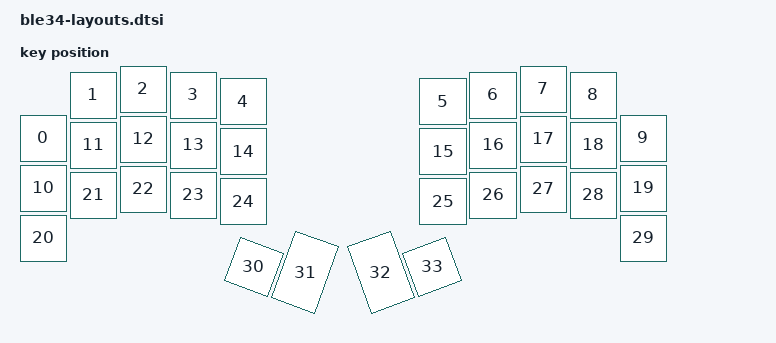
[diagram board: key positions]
#include <physical_layouts.dtsi>

/ {
    physical_layout0: physical_layout_0 {
        compatible = "zmk,physical-layout";
        display-name = "five_column_transform";

        kscan = <&kscan0>;
        transform = <&matrix_transform0>;

        keys  //                     w   h    x    y     rot    rx    ry
            = <&key_physical_attrs 100 100    0   98       0     0     0>
            , <&key_physical_attrs 100 100  100   12       0     0     0>
            , <&key_physical_attrs 100 100  200    0       0     0     0>
            , <&key_physical_attrs 100 100  300   12       0     0     0>
            , <&key_physical_attrs 100 100  400   25       0     0     0>
            , <&key_physical_attrs 100 100  800   25       0     0     0>
            , <&key_physical_attrs 100 100  900   12       0     0     0>
            , <&key_physical_attrs 100 100 1000    0       0     0     0>
            , <&key_physical_attrs 100 100 1100   12       0     0     0>
            , <&key_physical_attrs 100 100 1200   98       0     0     0>
            , <&key_physical_attrs 100 100    0  198       0     0     0>
            , <&key_physical_attrs 100 100  100  112       0     0     0>
            , <&key_physical_attrs 100 100  200  100       0     0     0>
            , <&key_physical_attrs 100 100  300  112       0     0     0>
            , <&key_physical_attrs 100 100  400  125       0     0     0>
            , <&key_physical_attrs 100 100  800  125       0     0     0>
            , <&key_physical_attrs 100 100  900  112       0     0     0>
            , <&key_physical_attrs 100 100 1000  100       0     0     0>
            , <&key_physical_attrs 100 100 1100  112       0     0     0>
            , <&key_physical_attrs 100 100 1200  198       0     0     0>
            , <&key_physical_attrs 100 100    0  298       0     0     0>
            , <&key_physical_attrs 100 100  100  212       0     0     0>
            , <&key_physical_attrs 100 100  200  200       0     0     0>
            , <&key_physical_attrs 100 100  300  212       0     0     0>
            , <&key_physical_attrs 100 100  400  225       0     0     0>
            , <&key_physical_attrs 100 100  800  225       0     0     0>
            , <&key_physical_attrs 100 100  900  212       0     0     0>
            , <&key_physical_attrs 100 100 1000  200       0     0     0>
            , <&key_physical_attrs 100 100 1100  212       0     0     0>
            , <&key_physical_attrs 100 100 1200  298       0     0     0>
            , <&key_physical_attrs 100 100  280  320    2000   298   790>
            , <&key_physical_attrs 100 150  380  270    2000   298   790>
            , <&key_physical_attrs 100 150  820  270 (-2000)  1002   790>
            , <&key_physical_attrs 100 100  920  320 (-2000)  1002   790>
            ;
    };
};
